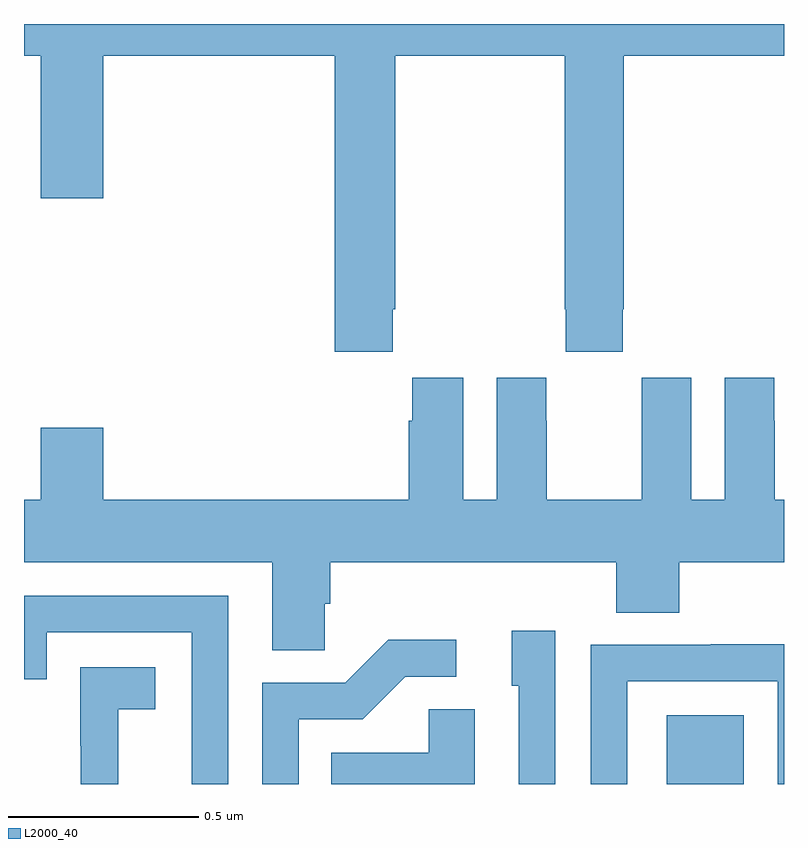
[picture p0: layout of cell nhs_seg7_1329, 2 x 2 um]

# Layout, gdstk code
import gdstk
lib = gdstk.Library(unit=1e-6, precision=1e-09)
def R(c, l, rs):  # rectangles x0, y0, x1, y1
    for r in rs: c.add(gdstk.rectangle(r[:2], r[2:], *l))
def P(c, l, *ps):  # polygons
    for p in ps: c.add(gdstk.Polygon(p, *l))
L2000_40 = (2000, 40)

nhs_seg7_1329 = lib.new_cell('nhs_seg7_1329')
R(nhs_seg7_1329, L2000_40, [(130.691,1032,130.894,1032.181)])
P(nhs_seg7_1329, L2000_40, [(129.971,1033.249),(129.977,1033.249),(129.977,1033.916),(130.423,1033.916),(130.423,1033.249),(130.425,1033.249),(130.425,1033.137),(130.575,1033.137),(130.575,1033.249),(130.578,1033.249),(130.578,1033.916),(131,1033.916),(131,1034),(129,1034),(129,1033.916),(129.044,1033.916),(129.044,1033.542),(129.208,1033.542),(129.208,1033.916),(129.818,1033.916),(129.818,1033.137),(129.971,1033.137)],
  [(129.792,1032.475),(129.806,1032.475),(129.806,1032.584),(130.559,1032.584),(130.559,1032.451),(130.724,1032.451),(130.724,1032.584),(131,1032.584),(131,1032.748),(130.975,1032.748),(130.975,1032.956),(130.974,1032.956),(130.974,1033.069),(130.844,1033.069),(130.844,1032.748),(130.756,1032.748),(130.756,1033.069),(130.626,1033.069),(130.626,1032.956),(130.625,1032.956),(130.625,1032.748),(130.375,1032.748),(130.375,1032.956),(130.374,1032.956),(130.374,1033.069),(130.244,1033.069),(130.244,1032.748),(130.156,1032.748),(130.156,1033.069),(130.022,1033.069),(130.022,1032.956),(130.013,1032.956),(130.013,1032.748),(129.208,1032.748),(129.208,1032.937),(129.044,1032.937),(129.044,1032.748),(129,1032.748),(129,1032.584),(129.653,1032.584),(129.653,1032.352),(129.792,1032.352)],
  [(129.537,1032.495),(129,1032.495),(129,1032.276),(129.06,1032.276),(129.06,1032.399),(129.441,1032.399),(129.441,1032),(129.537,1032)],
  [(130.398,1032.403),(130.283,1032.403),(130.283,1032.258),(130.302,1032.258),(130.302,1032),(130.398,1032)],
  [(129.723,1032.171),(129.892,1032.171),(130.003,1032.282),(130.138,1032.282),(130.138,1032.38),(129.959,1032.38),(129.846,1032.267),(129.627,1032.267),(129.627,1032),(129.723,1032)],
  [(130.587,1032.27),(130.983,1032.27),(130.983,1032),(131,1032),(131,1032.368),(130.807,1032.368),(130.807,1032.366),(130.491,1032.366),(130.491,1032),(130.587,1032)],
  [(129.248,1032.197),(129.346,1032.197),(129.346,1032.307),(129.148,1032.307),(129.148,1032.101),(129.149,1032.101),(129.149,1032),(129.248,1032)],
  [(130.186,1032.197),(130.065,1032.197),(130.065,1032.082),(129.808,1032.082),(129.808,1032),(130.186,1032)])

lib.write_gds('nhs_seg7_1329.gds')
